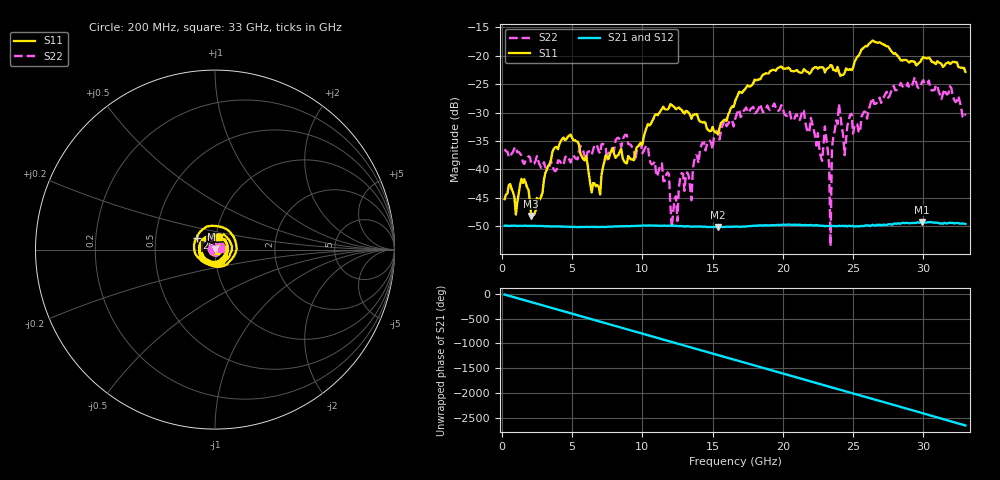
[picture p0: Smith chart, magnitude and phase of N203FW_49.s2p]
# GHZ S RI R 50
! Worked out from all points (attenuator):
!   329 points, 200 MHz to 33 GHz, reference 50 ohm
!   highest |S21| = -49.29 dB at 29.9 GHz (marker M1); lowest = -50.2 dB at 15.4 GHz (marker M2)
!   lowest |S11| = -48.2 dB at 2.1 GHz (marker M3), VSWR 1.01, Z = 49.9 + j0.378 ohm
!   |S11| at or under -10 dB: start of sweep to end of sweep
!   |S22| runs from -53.5 to -23.8 dB; largest |S21 - S12| = 8.9e-05
!   S11 on the Smith chart (normalised r, x): 200 MHz: 1.01, +0.00; 26 GHz: 0.81, +0.10; 33 GHz: 1.03, +0.14
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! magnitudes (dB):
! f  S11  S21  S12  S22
! 200 MHz  -45.3  -49.9  -49.9  -36.4
! 2.1 GHz  -48.2  -50.0  -50.0  -39.0
! 3.8 GHz  -36.1  -50.1  -50.0  -40.3
! 5.7 GHz  -37.8  -50.2  -50.1  -36.3
! 7 GHz  -44.4  -50.2  -50.1  -37.2
! 11.2 GHz  -30.1  -49.9  -49.9  -39.9
! 11.9 GHz  -29.2  -49.9  -49.9  -40.9
! 12.1 GHz  -28.7  -49.9  -49.9  -50.2
! 15.4 GHz  -33.9  -50.2  -50.2  -33.3
! 16.6 GHz  -28.1  -50.1  -50.1  -31.2
! 22.1 GHz  -22.4  -49.8  -49.8  -32.0
! 22.8 GHz  -22.0  -49.9  -49.9  -38.5
! 23 GHz  -22.9  -50.0  -50.0  -32.4
! 23.3 GHz  -22.1  -50.0  -50.0  -39.3
! 23.4 GHz  -21.6  -50.0  -50.0  -53.5
! 23.5 GHz  -21.7  -50.0  -50.0  -36.3
! 24 GHz  -22.9  -49.9  -50.0  -28.5
! 24.4 GHz  -23.1  -50.0  -49.9  -37.5
! 26 GHz  -18.3  -49.9  -49.9  -31.1
! 27.6 GHz  -18.7  -49.7  -49.7  -27.1
! 29.9 GHz  -20.5  -49.3  -49.4  -24.7
! 33 GHz  -22.8  -49.6  -49.7  -30.2
